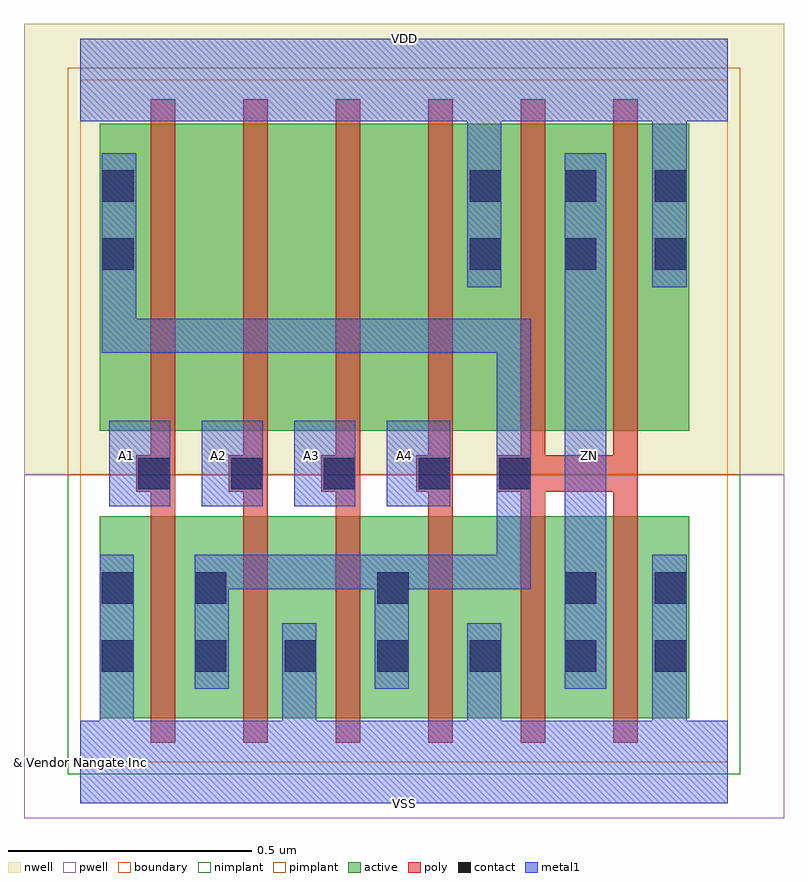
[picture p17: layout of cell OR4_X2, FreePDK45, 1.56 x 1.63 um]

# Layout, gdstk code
import gdstk
lib = gdstk.Library(unit=1e-6, precision=1e-10)
def R(c, l, rs):  # rectangles x0, y0, x1, y1
    for r in rs: c.add(gdstk.rectangle(r[:2], r[2:], *l))
def A(c, l, x, y, w, h, nx, ny, dx, dy):  # array of equal rectangles
    R(c, l, [(x+i*dx, y+j*dy, x+i*dx+w, y+j*dy+h) for i in range(nx) for j in range(ny)])
def P(c, l, *ps):  # polygons
    for p in ps: c.add(gdstk.Polygon(p, *l))
active = (1, 0)
pwell = (2, 0)
nwell = (3, 0)
nimplant = (4, 0)
pimplant = (5, 0)
poly = (9, 0)
contact = (10, 0)
metal1 = (11, 0)
boundary = (235, 0)

or4_x2 = lib.new_cell('OR4_X2')
R(or4_x2, active, [(0.04,0.09,1.25,0.505), (0.04,0.68,1.25,1.31)])
R(or4_x2, pwell, [(-0.115,-0.115,1.445,0.59)])
R(or4_x2, nwell, [(-0.115,0.59,1.445,1.515)])
R(or4_x2, nimplant, [(-0.025,-0.025,1.355,0.59)])
R(or4_x2, pimplant, [(-0.025,0.59,1.355,1.425)])
P(or4_x2, poly, [(0.145,0.04),(0.145,0.555),(0.115,0.555),(0.115,0.63),(0.145,0.63),(0.145,1.36),(0.195,1.36),(0.195,0.04)],
  [(0.335,0.04),(0.335,0.555),(0.305,0.555),(0.305,0.63),(0.335,0.63),(0.335,1.36),(0.385,1.36),(0.385,0.04)],
  [(0.525,0.04),(0.525,0.555),(0.495,0.555),(0.495,0.63),(0.525,0.63),(0.525,1.36),(0.575,1.36),(0.575,0.04)],
  [(0.715,0.04),(0.715,0.555),(0.69,0.555),(0.69,0.63),(0.715,0.63),(0.715,1.36),(0.765,1.36),(0.765,0.04)],
  [(0.905,0.04),(0.905,0.555),(0.855,0.555),(0.855,0.63),(0.905,0.63),(0.905,1.36),(0.955,1.36),(0.955,0.63),(1.095,0.63),(1.095,1.36),(1.145,1.36),(1.145,0.04),(1.095,0.04),(1.095,0.555),(0.955,0.555),(0.955,0.04)])
A(or4_x2, contact, 0.42, 0.185, 0.065, 0.065, 3, 1, 0.19, 0)
A(or4_x2, contact, 0.12, 0.56, 0.065, 0.065, 3, 1, 0.19, 0)
R(or4_x2, contact, [(0.045,0.185,0.11,0.25), (0.235,0.185,0.3,0.25), (0.995,0.185,1.06,0.25), (1.18,0.185,1.245,0.25), (0.045,0.325,0.11,0.39), (0.235,0.325,0.3,0.39), (0.61,0.325,0.675,0.39), (0.995,0.325,1.06,0.39), (1.18,0.325,1.245,0.39), (0.695,0.56,0.76,0.625), (0.86,0.56,0.925,0.625), (0.045,1.01,0.11,1.075), (0.8,1.01,0.865,1.075), (0.995,1.01,1.06,1.075), (1.18,1.01,1.245,1.075), (0.045,1.15,0.11,1.215), (0.8,1.15,0.865,1.215), (0.995,1.15,1.06,1.215), (1.18,1.15,1.245,1.215)])
A(or4_x2, metal1, 0.06, 0.525, 0.125, 0.175, 3, 1, 0.19, 0)
R(or4_x2, metal1, [(0.995,0.15,1.08,1.25), (0.63,0.525,0.76,0.7)])
P(or4_x2, metal1, [(0.235,0.15),(0.235,0.425),(0.855,0.425),(0.855,0.84),(0.045,0.84),(0.045,1.25),(0.115,1.25),(0.115,0.91),(0.925,0.91),(0.925,0.355),(0.675,0.355),(0.675,0.15),(0.605,0.15),(0.605,0.355),(0.305,0.355),(0.305,0.15)],
  [(0,-0.085),(0,0.085),(0.04,0.085),(0.04,0.425),(0.11,0.425),(0.11,0.085),(0.415,0.085),(0.415,0.285),(0.485,0.285),(0.485,0.085),(0.795,0.085),(0.795,0.285),(0.865,0.285),(0.865,0.085),(1.175,0.085),(1.175,0.425),(1.245,0.425),(1.245,0.085),(1.33,0.085),(1.33,-0.085)],
  [(0.795,0.975),(0.795,1.315),(0,1.315),(0,1.485),(1.33,1.485),(1.33,1.315),(1.245,1.315),(1.245,0.975),(1.175,0.975),(1.175,1.315),(0.865,1.315),(0.865,0.975)])
R(or4_x2, boundary, [(0,0,1.33,1.4)])
or4_x2.add(gdstk.Label('A1', (0.095,0.63), layer=11, texttype=0))
or4_x2.add(gdstk.Label('A2', (0.285,0.63), layer=11, texttype=0))
or4_x2.add(gdstk.Label('A3', (0.475,0.63), layer=11, texttype=0))
or4_x2.add(gdstk.Label('A4', (0.665,0.63), layer=11, texttype=0))
or4_x2.add(gdstk.Label('VDD', (0.665,1.485), layer=11, texttype=0))
or4_x2.add(gdstk.Label('VSS', (0.665,-0.085), layer=11, texttype=0))
or4_x2.add(gdstk.Label('ZN', (1.045,0.63), layer=11, texttype=0))
or4_x2.add(gdstk.Label('& Vendor Nangate Inc', (0,0), layer=63, texttype=63))
or4_x2.add(gdstk.Label('& Product Open Cell Library', (0,0), layer=63, texttype=63))
or4_x2.add(gdstk.Label('& Version 2010_12', (0,0), layer=63, texttype=63))
or4_x2.add(gdstk.Label('& Instance OR4_X2', (0,0), layer=63, texttype=63))

lib.write_gds('OR4_X2.gds')
